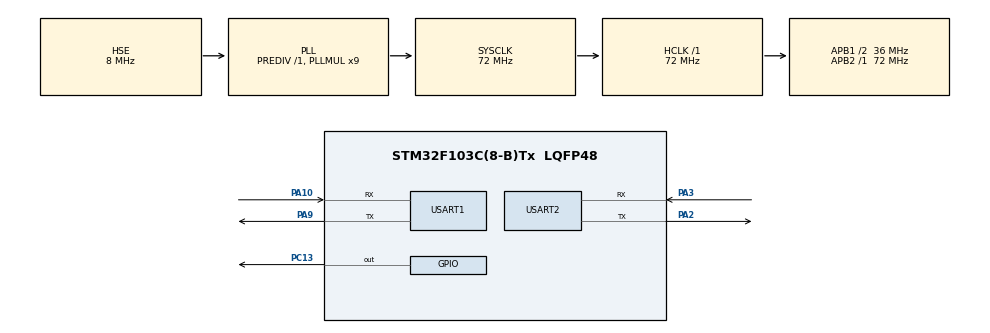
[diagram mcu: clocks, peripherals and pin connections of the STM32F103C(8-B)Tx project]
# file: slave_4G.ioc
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Dma.Request0=USART1_RX
Dma.USART1_RX.0.Direction=DMA_PERIPH_TO_MEMORY
Dma.USART1_RX.0.Instance=DMA1_Channel5
Dma.USART1_RX.0.MemDataAlignment=DMA_MDATAALIGN_BYTE
Dma.USART1_RX.0.MemInc=DMA_MINC_ENABLE
Dma.USART1_RX.0.Mode=DMA_CIRCULAR
Dma.USART1_RX.0.PeriphDataAlignment=DMA_PDATAALIGN_BYTE
Dma.USART1_RX.0.PeriphInc=DMA_PINC_DISABLE
Dma.USART1_RX.0.Priority=DMA_PRIORITY_LOW
Mcu.Family=STM32F1
Mcu.Name=STM32F103C(8-B)Tx
Mcu.Package=LQFP48
NVIC.DMA1_Channel5_IRQn=true\:0\:0\:false\:false\:true\:false\:true\:true
NVIC.PriorityGroup=NVIC_PRIORITYGROUP_4
NVIC.USART1_IRQn=true\:0\:0\:false\:false\:true\:true\:true\:true
NVIC.USART2_IRQn=true\:0\:0\:false\:false\:true\:true\:true\:true
PA10.Mode=Asynchronous
PA10.Signal=USART1_RX
PA13.Mode=Serial_Wire
PA13.Signal=SYS_JTMS-SWDIO
PA14.Mode=Serial_Wire
PA14.Signal=SYS_JTCK-SWCLK
PA2.Mode=Asynchronous
PA2.Signal=USART2_TX
PA3.Mode=Asynchronous
PA3.Signal=USART2_RX
PA9.Mode=Asynchronous
PA9.Signal=USART1_TX
PC13-TAMPER-RTC.Signal=GPIO_Output
PD0-OSC_IN.Mode=HSE-External-Oscillator
PD0-OSC_IN.Signal=RCC_OSC_IN
PD1-OSC_OUT.Mode=HSE-External-Oscillator
PD1-OSC_OUT.Signal=RCC_OSC_OUT
ProjectManager.HeapSize=0x200
ProjectManager.StackSize=0x400
ProjectManager.TargetToolchain=MDK-ARM V5.32
RCC.AHBFreq_Value=72000000
RCC.APB1CLKDivider=RCC_HCLK_DIV2
RCC.APB1Freq_Value=36000000
RCC.APB1TimFreq_Value=72000000
RCC.APB2Freq_Value=72000000
RCC.APB2TimFreq_Value=72000000
RCC.HCLKFreq_Value=72000000
RCC.PLLMUL=RCC_PLL_MUL9
RCC.PLLSourceVirtual=RCC_PLLSOURCE_HSE
RCC.SYSCLKFreq_VALUE=72000000
RCC.SYSCLKSource=RCC_SYSCLKSOURCE_PLLCLK
RCC.USBFreq_Value=72000000
USART1.VirtualMode=VM_ASYNC
USART2.VirtualMode=VM_ASYNC
board=custom

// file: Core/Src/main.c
/* USER CODE BEGIN Header */
/**
  ******************************************************************************
  * @file           : main.c
  * @brief          : Main program body
  ******************************************************************************
  * @attention
  *
  * Copyright (c) 2025 STMicroelectronics.
  * All rights reserved.
  *
  * This software is licensed under terms that can be found in the LICENSE file
  * in the root directory of this software component.
  * If no LICENSE file comes with this software, it is provided AS-IS.
  *
  ******************************************************************************
  */
/* USER CODE END Header */
#include "main.h"
#include "dma.h"
#include "usart.h"
#include "gpio.h"

/* USER CODE BEGIN Includes */
#include "user.h"
#include "stdio.h"
#include "string.h"
/* USER CODE END Includes */

/* USER CODE BEGIN PD */
unsigned long  Time_Cont = 0;       //定时器计数器
#define Success 1U
#define Failure 0U

/* USER CODE END PD */

/* USER CODE BEGIN PV */

const char *mqtt_server = "mqtts.heclouds.com"; //onenet 的 IP地址218.201.45.2
const char *port = "1883";                     //端口号

#define mqtt_pubid "VXp0a3H7mC"       //产品ID
#define mqtt_devid "air_test" //设备ID

#define mqtt_token "version=2018-10-31&res=products%2FVXp0a3H7mC%2Fdevices%2Fair_test&et=2228989936&method=md5&sign=%2BvhWX2wsZwS6H0WgKpvnrg%3D%3D" //鉴权信息

#define subscribe "$sys/VXp0a3H7mC/air_test/thing/property/post/reply"	//参考mqtt_pubid和mqtt_devid一起替换对应位置
#define publish "$sys/VXp0a3H7mC/air_test/thing/property/post"		  	//参考mqtt_pubid和mqtt_devid一起替换对应位置

#define paramsName	"temp_value"

uint8_t count = 0;

/* USER CODE END PV */

void SystemClock_Config(void);

int main(void)
{

  /* MCU Configuration--------------------------------------------------------*/

  /* Reset of all peripherals, Initializes the Flash interface and the Systick. */
  HAL_Init();

  /* Configure the system clock */
  SystemClock_Config();

  /* Initialize all configured peripherals */
  MX_GPIO_Init();
  MX_DMA_Init();
  MX_USART1_UART_Init();
  MX_USART2_UART_Init();
  /* USER CODE BEGIN 2 */

	HAL_UART_Receive_IT(&huart1, (uint8_t *)&c, 1);
	HAL_UART_Receive_IT(&huart2, (uint8_t *)&c, 1);

	initair780();
	HAL_Delay(100);

  /* USER CODE END 2 */

  /* Infinite loop */
  while (1)
  {

    /* USER CODE BEGIN 3 */

		uint8_t temp_value = 10;

		connectMQTTServer();//连接MQTT并订阅

//		while(count++ < 5)
//		{
//			publishDataToServer(paramsName,temp_value);	//发送一组数据
//			temp_value += 1;
//			printf("\r\n...Pause\r\n");
//			HAL_Delay(600);
//		}
//		count = 0;
		HAL_Delay(1000);
		publishDataToServer(paramsName,temp_value);
//		if (sendCommand("AT+MIPCLOSE\r\n", "OK\r\n", 5000, 10) == Success);
//		else errorLog(13);

//		if (sendCommand("AT+CIPSHUT\r\n", "OK\r\n", 5000, 10) == Success);
//		else errorLog(13);
//

  }
  /* USER CODE END 3 */
}

void SystemClock_Config(void)
{
  RCC_OscInitTypeDef RCC_OscInitStruct = {0};
  RCC_ClkInitTypeDef RCC_ClkInitStruct = {0};

  /** Initializes the RCC Oscillators according to the specified parameters
  * in the RCC_OscInitTypeDef structure.
  */
  RCC_OscInitStruct.OscillatorType = RCC_OSCILLATORTYPE_HSE;
  RCC_OscInitStruct.HSEState = RCC_HSE_ON;
  RCC_OscInitStruct.HSEPredivValue = RCC_HSE_PREDIV_DIV1;
  RCC_OscInitStruct.HSIState = RCC_HSI_ON;
  RCC_OscInitStruct.PLL.PLLState = RCC_PLL_ON;
  RCC_OscInitStruct.PLL.PLLSource = RCC_PLLSOURCE_HSE;
  RCC_OscInitStruct.PLL.PLLMUL = RCC_PLL_MUL9;
  if (HAL_RCC_OscConfig(&RCC_OscInitStruct) != HAL_OK)
  {
    Error_Handler();
  }

  /** Initializes the CPU, AHB and APB buses clocks
  */
  RCC_ClkInitStruct.ClockType = RCC_CLOCKTYPE_HCLK|RCC_CLOCKTYPE_SYSCLK
                              |RCC_CLOCKTYPE_PCLK1|RCC_CLOCKTYPE_PCLK2;
  RCC_ClkInitStruct.SYSCLKSource = RCC_SYSCLKSOURCE_PLLCLK;
  RCC_ClkInitStruct.AHBCLKDivider = RCC_SYSCLK_DIV1;
  RCC_ClkInitStruct.APB1CLKDivider = RCC_HCLK_DIV2;
  RCC_ClkInitStruct.APB2CLKDivider = RCC_HCLK_DIV1;

  if (HAL_RCC_ClockConfig(&RCC_ClkInitStruct, FLASH_LATENCY_2) != HAL_OK)
  {
    Error_Handler();
  }
}

/* USER CODE BEGIN 4 */

struct __FILE
{
  int handle;
  /* Whatever you require here. If the only file you are using is */
  /* standard output using printf() for debugging, no file handling */
  /* is required. */
};
/* FILE is typedef’d in stdio.h. */
FILE __stdout;
int fputc(int ch, FILE *f)
{
  /* Your implementation of fputc(). */
	uint8_t temp[1]={ch};
	HAL_UART_Transmit(&huart1,temp,1,2);
  return ch;
}

void publishDataToServer(char* name,uint8_t dat)
{
	char send_buf[255] = {0};
	char tmp[255] = {0};
	memset(send_buf, 0, 255);    //清空
	memset(tmp, 0, 255);    //清空
	strcat(send_buf, "AT+MPUB=\"");
	strcat(send_buf, publish);
	strcat(send_buf, "\", 0, 0,\"");
	sprintf(tmp, "{\\22id\\22:\\22123\\22,\\22params\\22:{\\22%s\\22:{\\22value\\22:%d}}}\"\r\n"
	       ,name ,dat );
	strcat(send_buf, tmp);
	if (sendCommand(send_buf ,"success\"}\r\n",3000, 10) == Success);
	else errorLog(1);
	HAL_Delay(100);
}

void connectMQTTServer(void)
{
	char send_buf[150] = {0};
	memset(send_buf, 0, 150);    //清空
	strcpy(send_buf, "AT+MCONFIG=\"");
	strcat(send_buf, mqtt_devid);
	strcat(send_buf, "\",\"");
	strcat(send_buf, mqtt_pubid);
	strcat(send_buf, "\",\"");
	strcat(send_buf, mqtt_token);
	strcat(send_buf, "\"\r\n");

	if (sendCommand(send_buf, "OK\r\n", 10000, 5) == Success);
	else errorLog(8);

	memset(send_buf, 0, 150);    //清空
	strcpy(send_buf, "AT+MIPSTART=\"");
	strcat(send_buf, mqtt_server);
	strcat(send_buf, "\",");
	strcat(send_buf, port);
	strcat(send_buf, "\r\n");

	if (sendCommand(send_buf, "CONNECT OK\r\n", 10000, 5) == Success);
	else errorLog(8);

	if (sendCommand("AT+MCONNECT=1,120\r\n", "CONNACK OK\r\n", 10000, 5) == Success);
	else errorLog(8);

	memset(send_buf, 0, 150);    //清空
	strcpy(send_buf, "AT+MSUB=\"");
	strcat(send_buf, subscribe);
	strcat(send_buf, "\",0\r\n");
	if (sendCommand(send_buf ,"SUBACK\r\n",3000, 10) == Success);
	else errorLog(10);
	HAL_Delay(100);
}

void initair780(void)
{
	if (sendCommand("AT\r\n", "OK\r\n", 500, 10) == Success);
	else errorLog(1);

	if (sendCommand("AT&F\r\n", "OK\r\n", 3000, 10) == Success);
	else errorLog(1);

	if (sendCommand("AT+CSQ\r\n", "OK\r\n", 3000, 10) == Success);
	else errorLog(1);
	HAL_Delay(100);

	if (sendCommandReceive2Keyword("AT+CPIN?\r\n", "READY","OK\r\n" ,3000, 10) == Success);
	else errorLog(1);
	HAL_Delay(100);

	if (sendCommand("AT+COPS?\r\n", "OK\r\n", 3000, 10) == Success);
	else errorLog(1);
	HAL_Delay(100);

	if (sendCommandReceive2Keyword("AT+CREG?\r\n", ",1","OK\r\n", 3000, 10) == Success);	//本地SIM卡
	else if(sendCommandReceive2Keyword("AT+CREG?\r\n", ",5", "OK\r\n",3000, 10) == Success	);//漫游SIM卡
	else	errorLog(3);

	if (sendCommand("AT+CIPSHUT\r\n", "OK\r\n", 5000, 10) == Success);
	else errorLog(13);

	if (sendCommandReceive2Keyword("AT+CGATT?\r\n", "+CGATT: 1","OK\r\n" ,3000, 10) == Success);
	else errorLog(1);
	HAL_Delay(100);

	if (sendCommand("AT+CSTT\r\n", "OK\r\n", 3000, 10) == Success);
	else errorLog(1);
	HAL_Delay(100);

	if (sendCommand("AT+CIICR\r\n", "OK\r\n", 3000, 10) == Success);
	else errorLog(1);
	HAL_Delay(100);

	if (sendCommandReceive2Keyword("AT+CIFSR\r\n", ".","\r\n" ,3000, 10) == Success);
	else errorLog(1);
	HAL_Delay(100);

}

void Sys_Soft_Reset(void)
{
    SCB->AIRCR =0X05FA0000|(uint32_t)0x04;
}

void errorLog(int num)
{
	printf("ERROR%d\r\n",num);
	while (1)
	{
		if (sendCommand("AT\r\n", "OK\r\n", 100, 10) == Success)
		{
			Sys_Soft_Reset();
		}
		HAL_Delay(200);
	}
}

unsigned char nibble2c(unsigned char c)
{
   if ((c>='0') && (c<='9'))
      return c-'0' ;
   if ((c>='A') && (c<='F'))
      return c+10-'A' ;
   if ((c>='a') && (c<='a'))
      return c+10-'a' ;
   return 0 ;
}

unsigned char hex2c(unsigned char c1, unsigned char c2)
{
   if((int)c1>= 0)
     return c1*16 + c2 ;
   return 0 ;
}

unsigned int sendCommandHex(char *Command, unsigned long Timeout, unsigned char Retry)
{
	unsigned char n;
	unsigned char dat = 0,dat1 = 0,dat_hex = 0;
	USART2_CLR_Buf();
	for (n = 0; n < Retry; n++)
	{
		char send_buf[100] = {0};
		memset(send_buf, 0, 100);    //清空

		printf("\r\n***************send****************\r\n");
		printf((const char*)Command);

		for(int i = 0 ; i < strlen(Command) ;i++)
		{

			if(i%2==0)
			{
				dat = nibble2c(Command[i]);	//获取奇数位的数据
			}

			if(i%2==1)
			{
				dat1 = nibble2c(Command[i]);	//获取偶数位的数据

				dat_hex = hex2c(dat,dat1);	//汇总成一个HEX数据

				send_buf[i/2]=dat_hex;	//拼接到send_buf，等待发送
			}

		}
		printf((const char*)send_buf);
		HAL_UART_Transmit(&huart2, (uint8_t *)send_buf, strlen(send_buf),0xFFFF);

		Time_Cont = 0;
		while (Time_Cont < Timeout)
		{
			HAL_Delay(100);
			Time_Cont += 100;
			if (strstr((const char*)USART2_RX_BUF, (const char*)send_buf) != NULL)
			{
				printf("\r\n***************receive****************\r\n");
				printf((const char*)USART2_RX_BUF);
				USART2_CLR_Buf();
				return Success;
			}

		}
		Time_Cont = 0;
	}
	printf("\r\n***************receive****************\r\n");
	printf((const char*)USART2_RX_BUF);
	USART2_CLR_Buf();
	return Failure;
}

unsigned int sendCommand(char *Command, char *Response, unsigned long Timeout, unsigned char Retry)
{
	unsigned char n;
	USART2_CLR_Buf();
	for (n = 0; n < Retry; n++)
	{
		HAL_UART_Transmit(&huart2, (uint8_t *)Command, strlen(Command),0xFFFF);

		printf("\r\n***************send****************\r\n");
		printf((const char*)Command);

		Time_Cont = 0;
		while (Time_Cont < Timeout)
		{
			HAL_Delay(100);
			Time_Cont += 100;
			if (strstr((const char*)USART2_RX_BUF, (const char*)Response) != NULL)
			{
				printf("\r\n***************receive****************\r\n");
				printf((const char*)USART2_RX_BUF);
				USART2_CLR_Buf();
				return Success;
			}

		}
		printf("\r\n***************receive****************\r\n");
		printf((const char*)USART2_RX_BUF);
		Time_Cont = 0;
	}
	printf("\r\n***************receive****************\r\n");
	printf((const char*)USART2_RX_BUF);
	USART2_CLR_Buf();
	return Failure;
}

unsigned int sendCommandReceive2Keyword(char *Command, char *Response, char *Response2, unsigned long Timeout, unsigned char Retry)
{
	unsigned char n;
	USART2_CLR_Buf();
	for (n = 0; n < Retry; n++)
	{
		HAL_UART_Transmit(&huart2, (uint8_t *)Command, strlen(Command),0xFFFF);

		printf("\r\n***************send****************\r\n");
		printf((const char*)Command);

		Time_Cont = 0;
		while (Time_Cont < Timeout)
		{
			HAL_Delay(100);
			Time_Cont += 100;
			if (strstr((const char*)USART2_RX_BUF, (const char*)Response) != NULL  && strstr((const char*)USART2_RX_BUF, (const char*)Response2) != NULL)
			{
				printf("\r\n***************receive****************\r\n");
				printf((const char*)USART2_RX_BUF);
				USART2_CLR_Buf();
				return Success;
			}

		}
		Time_Cont = 0;
	}
	printf("\r\n***************receive****************\r\n");
	printf((const char*)USART2_RX_BUF);
	USART2_CLR_Buf();
	return Failure;
}

/* USER CODE END 4 */

void Error_Handler(void)
{
  __disable_irq();
  while (1)
  {
  }
}
